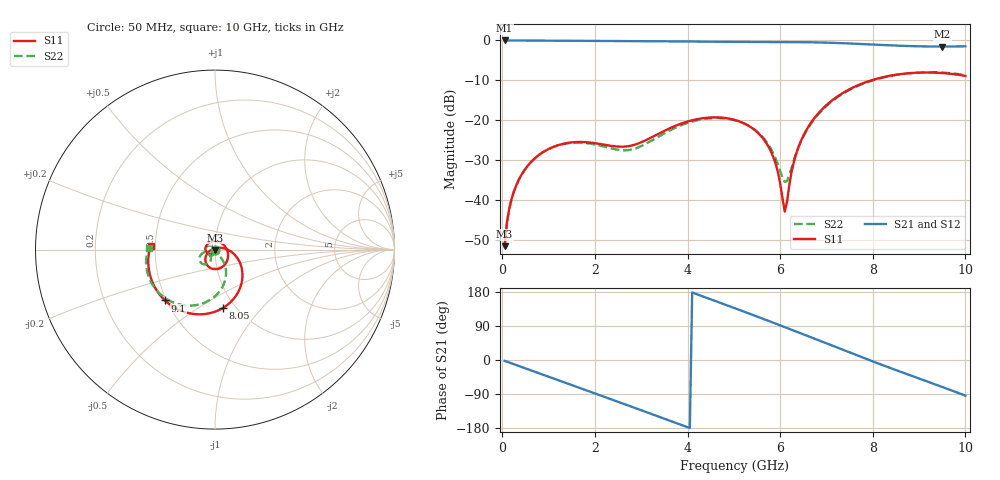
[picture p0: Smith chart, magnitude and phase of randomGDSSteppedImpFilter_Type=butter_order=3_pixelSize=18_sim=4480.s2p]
! freq	dB(S11)	phase(S11)	dB(S12)	phase(S12)
!  dB(S21)	phase(S21)	dB(S22)	phase(S22)
!S-par simulation data
#  GHz  S  DB  R 50
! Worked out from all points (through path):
!   200 points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, 50 MHz to 10 GHz, reference 50 ohm
!   highest |S21| = 0.00 dB at 50 MHz (marker M1); lowest = -1.5 dB at 9.5 GHz (marker M2)
!   group delay of S21, straight-line fit = 127 ps
!   lowest |S11| = -51.4 dB at 50 MHz (marker M3), VSWR 1.01, Z = 50 - j0.268 ohm
!   |S11| at or under -10 dB: start of sweep to 7.962 GHz
!   |S22| runs from -51.3 to -8.0 dB; largest |S21 - S12| = 0
!   S11 on the Smith chart (normalised r, x): 50 MHz: 1.00, -0.01; 8.05 GHz: 0.88, -0.64; 9.1 GHz: 0.49, -0.33; 10 GHz: 0.47, +0.02
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0.05  -51.45 -90.9  -0.00 -2.3  -0.00 -2.3  -51.35 -89.4
0.1  -45.53 -93.9  -0.01 -4.5  -0.01 -4.5  -45.48 -91.5
0.2  -39.69 -99.9  -0.01 -8.9  -0.01 -8.9  -39.66 -95.8
0.5  -32.10 -117.9  -0.03 -22.1  -0.03 -22.1  -32.08 -107.4
1.05  -26.87 -149.8  -0.06 -46.3  -0.06 -46.3  -26.90 -125.8
1.75  -25.41 164.3  -0.10 -77.1  -0.10 -77.1  -25.60 -143.0
2.55  -26.57 88.4  -0.14 -112.5  -0.14 -112.5  -27.42 -137.2
3.4  -23.17 -6.1  -0.20 -150.4  -0.20 -150.4  -23.86 -112.2
4.2  -19.71 -64.0  -0.29 173.7  -0.29 173.7  -19.99 -124.9
5.05  -19.98 -112.7  -0.36 135.4  -0.36 135.4  -20.05 -150.9
5.45  -22.41 -135.2  -0.37 117.1  -0.37 117.1  -22.32 -162.6
5.75  -26.61 -154.1  -0.37 103.2  -0.37 103.2  -26.11 -167.2
5.95  -32.87 -173.9  -0.38 93.9  -0.38 93.9  -30.97 -158.6
6.1  -42.79 112.3  -0.39 86.8  -0.39 86.8  -35.39 -119.3
6.35  -28.20 14.0  -0.41 74.9  -0.41 74.9  -28.08 -56.9
6.7  -20.02 -10.4  -0.47 58.2  -0.47 58.2  -20.24 -56.7
7.4  -12.82 -48.7  -0.71 24.5  -0.71 24.5  -13.00 -81.4
8.05  -9.69 -82.0  -1.05 -6.0  -1.05 -6.0  -9.81 -107.7
8.35  -8.87 -97.1  -1.21 -19.8  -1.21 -19.8  -8.95 -119.7
9.1  -8.02 -134.6  -1.49 -53.4  -1.49 -53.4  -7.99 -148.7
9.5  -8.15 -155.4  -1.53 -71.2  -1.53 -71.2  -8.05 -163.5
10  -8.88 176.4  -1.47 -94.0  -1.47 -94.0  -8.66 178.9
